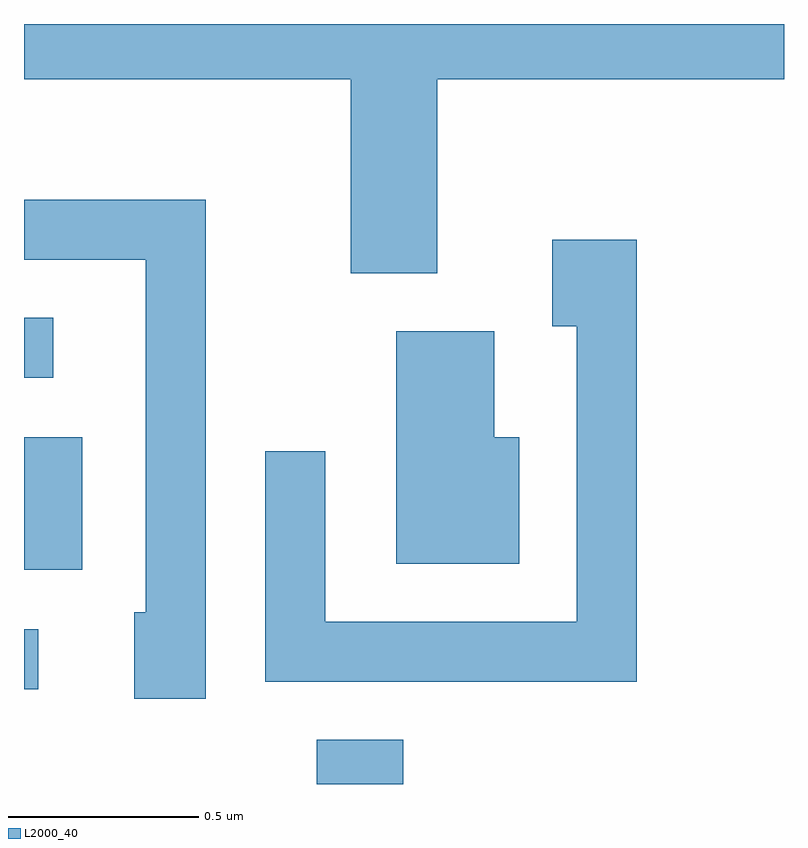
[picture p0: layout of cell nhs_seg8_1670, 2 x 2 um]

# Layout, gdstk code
import gdstk
lib = gdstk.Library(unit=1e-6, precision=1e-09)
def R(c, l, rs):  # rectangles x0, y0, x1, y1
    for r in rs: c.add(gdstk.rectangle(r[:2], r[2:], *l))
def P(c, l, *ps):  # polygons
    for p in ps: c.add(gdstk.Polygon(p, *l))
L2000_40 = (2000, 40)

nhs_seg8_1670 = lib.new_cell('nhs_seg8_1670')
R(nhs_seg8_1670, L2000_40, [(198.381,1832.342,198.609,1832.459), (197.611,1832.591,197.648,1832.749), (197.611,1832.906,197.764,1833.254), (197.611,1833.411,197.688,1833.569)])
P(nhs_seg8_1670, L2000_40, [(198.699,1834.196),(199.611,1834.196),(199.611,1834.342),(197.611,1834.342),(197.611,1834.196),(198.471,1834.196),(198.471,1833.686),(198.699,1833.686)],
  [(198.089,1833.879),(197.611,1833.879),(197.611,1833.721),(197.931,1833.721),(197.931,1832.794),(197.901,1832.794),(197.901,1832.566),(198.089,1832.566)],
  [(199.224,1833.774),(199.001,1833.774),(199.001,1833.546),(199.066,1833.546),(199.066,1832.769),(198.404,1832.769),(198.404,1833.218),(198.246,1833.218),(198.246,1832.611),(199.224,1832.611)],
  [(198.914,1833.254),(198.849,1833.254),(198.849,1833.534),(198.591,1833.534),(198.591,1832.921),(198.914,1832.921)])

lib.write_gds('nhs_seg8_1670.gds')
